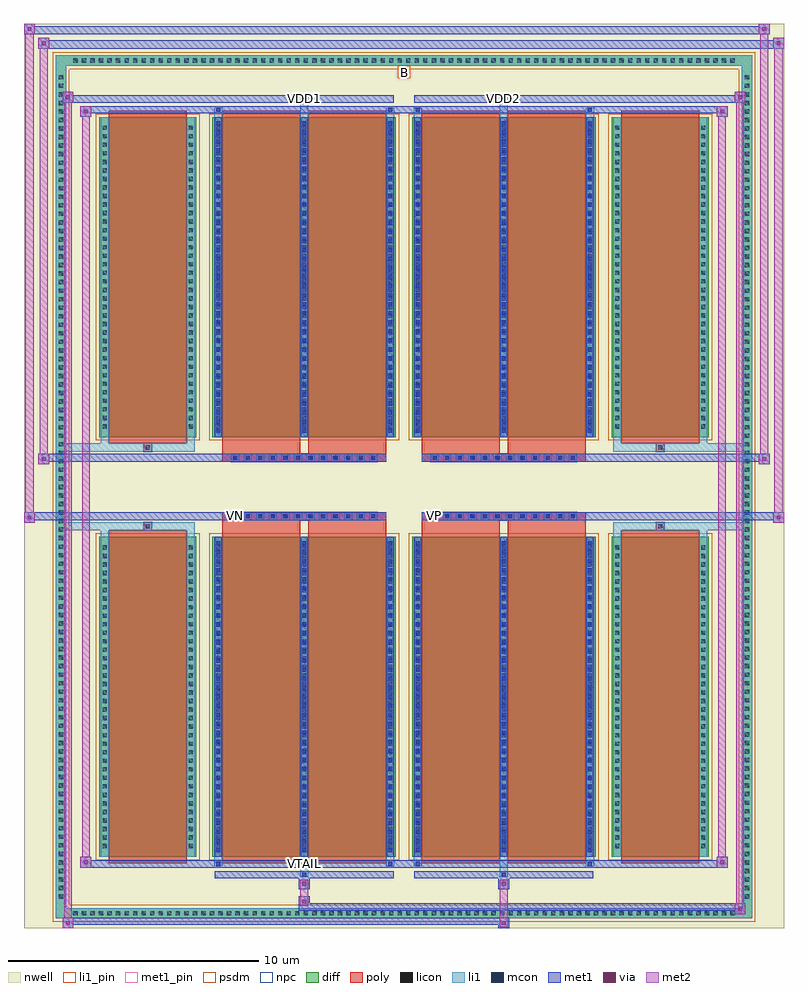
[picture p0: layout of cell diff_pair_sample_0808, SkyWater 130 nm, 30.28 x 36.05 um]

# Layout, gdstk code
import gdstk
lib = gdstk.Library(unit=1e-6, precision=5e-09)
def R(c, l, rs):  # rectangles x0, y0, x1, y1
    for r in rs: c.add(gdstk.rectangle(r[:2], r[2:], *l))
def A(c, l, x, y, w, h, nx, ny, dx, dy):  # array of equal rectangles
    R(c, l, [(x+i*dx, y+j*dy, x+i*dx+w, y+j*dy+h) for i in range(nx) for j in range(ny)])
def P(c, l, *ps):  # polygons
    for p in ps: c.add(gdstk.Polygon(p, *l))
nwell = (64, 20)
diff = (65, 20)
poly = (66, 20)
licon = (66, 44)
li1_pin = (67, 16)
li1 = (67, 20)
mcon = (67, 44)
met1_pin = (68, 16)
met1 = (68, 20)
via = (68, 44)
met2 = (69, 20)
psdm = (94, 20)
npc = (95, 20)

diff_pair_sample_0808 = lib.new_cell('diff_pair_sample_0808')
R(diff_pair_sample_0808, nwell, [(-15.14,-17.59,15.14,18.46), (-12.46,-15.78,-0.01,-0.8), (0.01,-15.78,12.46,-0.8), (-12.46,0.8,-0.01,15.78), (0.01,0.8,12.46,15.78)])
A(diff_pair_sample_0808, diff, -13.295, -17.19, 0.41, 0.41, 78, 2, 0.34, 33.97)
A(diff_pair_sample_0808, diff, -13.87, -16.525, 0.41, 0.41, 1, 97, 0, 0.34)
A(diff_pair_sample_0808, diff, 13.46, -16.525, 0.41, 0.41, 1, 97, 0, 0.34)
R(diff_pair_sample_0808, diff, [(-13.295,-17.19,13.295,-16.78), (-13.87,-16.525,-13.46,16.525), (13.46,-16.525,13.87,16.525), (-12.15,-14.735,-8.27,-1.985), (-7.63,-14.735,-0.32,-1.985), (0.32,-14.735,7.63,-1.985), (8.27,-14.735,12.15,-1.985), (-12.15,1.985,-8.27,14.735), (-7.63,1.985,-0.32,14.735), (0.32,1.985,7.63,14.735), (8.27,1.985,12.15,14.735), (-13.295,16.78,13.295,17.19)])
P(diff_pair_sample_0808, diff, [(13.87,17.19),(-13.87,17.19),(-13.87,-16.78),(-13.46,-16.78),(-13.46,16.78),(13.46,16.78),(13.46,-16.78),(-13.46,-16.78),(-13.87,-16.78),(-13.87,-17.19),(13.87,-17.19)])
A(diff_pair_sample_0808, poly, -6.89, -1.33, 0.33, 0.33, 12, 2, 0.5, 2.33)
A(diff_pair_sample_0808, poly, 1.06, -1.33, 0.33, 0.33, 12, 2, 0.5, 2.33)
R(diff_pair_sample_0808, poly, [(-11.76,-14.985,-8.66,-1.735), (-7.24,-14.985,-4.14,-1.735), (-3.81,-14.985,-0.71,-1.735), (0.71,-14.985,3.81,-1.735), (4.14,-14.985,7.24,-1.735), (8.66,-14.985,11.76,-1.735), (-10.375,-1.735,-10.045,-1.405), (-10.375,-1.735,-10.045,-1.405), (-7.24,-1.735,-4.14,-1.33), (-3.81,-1.735,-0.71,-1.33), (0.71,-1.735,3.81,-1.33), (4.14,-1.735,7.24,-1.33), (10.045,-1.735,10.375,-1.405), (10.045,-1.735,10.375,-1.405), (-7.24,-1.33,-0.71,-1), (0.71,-1.33,7.24,-1), (-7.24,1,-0.71,1.33), (0.71,1,7.24,1.33), (-7.24,1.33,-4.14,1.735), (-3.81,1.33,-0.71,1.735), (0.71,1.33,3.81,1.735), (4.14,1.33,7.24,1.735), (-10.375,1.405,-10.045,1.735), (-10.375,1.405,-10.045,1.735), (10.045,1.405,10.375,1.735), (10.045,1.405,10.375,1.735), (-11.76,1.735,-8.66,14.985), (-7.24,1.735,-4.14,14.985), (-3.81,1.735,-0.71,14.985), (0.71,1.735,3.81,14.985), (4.14,1.735,7.24,14.985), (8.66,1.735,11.76,14.985)])
A(diff_pair_sample_0808, licon, -13.175, -17.07, 0.17, 0.17, 78, 2, 0.34, 33.97)
A(diff_pair_sample_0808, licon, -13.75, -16.405, 0.17, 0.17, 1, 97, 0, 0.34)
A(diff_pair_sample_0808, licon, 13.58, -16.405, 0.17, 0.17, 1, 97, 0, 0.34)
A(diff_pair_sample_0808, licon, -12.01, -14.395, 0.17, 0.17, 1, 36, 0, 0.34)
A(diff_pair_sample_0808, licon, -8.58, -14.395, 0.17, 0.17, 1, 36, 0, 0.34)
A(diff_pair_sample_0808, licon, -7.49, -14.395, 0.17, 0.17, 3, 36, 3.43, 0.34)
A(diff_pair_sample_0808, licon, 0.46, -14.395, 0.17, 0.17, 3, 36, 3.43, 0.34)
A(diff_pair_sample_0808, licon, 8.41, -14.395, 0.17, 0.17, 1, 36, 0, 0.34)
A(diff_pair_sample_0808, licon, 11.84, -14.395, 0.17, 0.17, 1, 36, 0, 0.34)
A(diff_pair_sample_0808, licon, -6.81, -1.25, 0.17, 0.17, 12, 2, 0.5, 2.33)
A(diff_pair_sample_0808, licon, 1.14, -1.25, 0.17, 0.17, 12, 2, 0.5, 2.33)
A(diff_pair_sample_0808, licon, -12.01, 2.325, 0.17, 0.17, 1, 36, 0, 0.34)
A(diff_pair_sample_0808, licon, -8.58, 2.325, 0.17, 0.17, 1, 36, 0, 0.34)
A(diff_pair_sample_0808, licon, -7.49, 2.325, 0.17, 0.17, 3, 36, 3.43, 0.34)
A(diff_pair_sample_0808, licon, 0.46, 2.325, 0.17, 0.17, 3, 36, 3.43, 0.34)
A(diff_pair_sample_0808, licon, 8.41, 2.325, 0.17, 0.17, 1, 36, 0, 0.34)
A(diff_pair_sample_0808, licon, 11.84, 2.325, 0.17, 0.17, 1, 36, 0, 0.34)
R(diff_pair_sample_0808, licon, [(-10.295,-1.655,-10.125,-1.485), (10.125,-1.655,10.295,-1.485), (-10.295,1.485,-10.125,1.655), (10.125,1.485,10.295,1.655)])
R(diff_pair_sample_0808, li1_pin, [(-0.25,16.28,0.25,16.78)])
A(diff_pair_sample_0808, li1, -13.255, -17.15, 0.33, 0.33, 78, 2, 0.34, 33.97)
A(diff_pair_sample_0808, li1, -13.83, -16.485, 0.33, 0.33, 1, 97, 0, 0.34)
A(diff_pair_sample_0808, li1, 13.5, -16.485, 0.33, 0.33, 1, 97, 0, 0.34)
A(diff_pair_sample_0808, li1, -7.57, -14.735, 0.33, 12.75, 3, 2, 3.43, 16.72)
A(diff_pair_sample_0808, li1, 0.38, -14.735, 0.33, 12.75, 3, 2, 3.43, 16.72)
A(diff_pair_sample_0808, li1, -7.49, -14.565, 0.17, 0.17, 3, 35, 3.43, 0.36)
A(diff_pair_sample_0808, li1, -7.49, -14.565, 0.17, 12.41, 3, 2, 3.43, 16.72)
A(diff_pair_sample_0808, li1, 0.46, -14.565, 0.17, 0.17, 3, 35, 3.43, 0.36)
A(diff_pair_sample_0808, li1, 0.46, -14.565, 0.17, 12.41, 3, 2, 3.43, 16.72)
A(diff_pair_sample_0808, li1, -12.09, -14.475, 0.33, 0.33, 1, 36, 0, 0.34)
A(diff_pair_sample_0808, li1, -8.66, -14.475, 0.33, 0.33, 1, 36, 0, 0.34)
A(diff_pair_sample_0808, li1, -7.57, -14.475, 0.33, 0.33, 3, 36, 3.43, 0.34)
A(diff_pair_sample_0808, li1, 0.38, -14.475, 0.33, 0.33, 3, 36, 3.43, 0.34)
A(diff_pair_sample_0808, li1, 8.33, -14.475, 0.33, 0.33, 1, 36, 0, 0.34)
A(diff_pair_sample_0808, li1, 11.76, -14.475, 0.33, 0.33, 1, 36, 0, 0.34)
A(diff_pair_sample_0808, li1, -6.89, -1.33, 0.33, 0.33, 12, 2, 0.5, 2.33)
A(diff_pair_sample_0808, li1, 1.06, -1.33, 0.33, 0.33, 12, 2, 0.5, 2.33)
A(diff_pair_sample_0808, li1, -7.49, 2.155, 0.17, 0.17, 3, 35, 3.43, 0.36)
A(diff_pair_sample_0808, li1, 0.46, 2.155, 0.17, 0.17, 3, 35, 3.43, 0.36)
A(diff_pair_sample_0808, li1, -12.09, 2.245, 0.33, 0.33, 1, 36, 0, 0.34)
A(diff_pair_sample_0808, li1, -8.66, 2.245, 0.33, 0.33, 1, 36, 0, 0.34)
A(diff_pair_sample_0808, li1, -7.57, 2.245, 0.33, 0.33, 3, 36, 3.43, 0.34)
A(diff_pair_sample_0808, li1, 0.38, 2.245, 0.33, 0.33, 3, 36, 3.43, 0.34)
A(diff_pair_sample_0808, li1, 8.33, 2.245, 0.33, 0.33, 1, 36, 0, 0.34)
A(diff_pair_sample_0808, li1, 11.76, 2.245, 0.33, 0.33, 1, 36, 0, 0.34)
R(diff_pair_sample_0808, li1, [(-13.87,-17.19,-13.46,-16.78), (-13.87,-17.19,-13.46,-16.78), (-13.46,-17.19,13.46,-16.78), (13.46,-17.19,13.87,-16.78), (13.46,-17.19,13.87,-16.78), (-13.87,-16.78,-13.46,16.78), (13.46,-16.78,13.87,16.78), (-4.14,-15.54,-3.81,-14.735), (-4.06,-15.54,-3.89,-15.37), (3.81,-15.54,4.14,-14.735), (3.89,-15.54,4.06,-15.37), (-7.57,-15.11,-7.24,-14.735), (-7.49,-15.11,-7.32,-14.94), (-0.71,-15.11,-0.38,-14.735), (-0.63,-15.11,-0.46,-14.94), (0.38,-15.11,0.71,-14.735), (0.46,-15.11,0.63,-14.94), (7.24,-15.11,7.57,-14.735), (7.32,-15.11,7.49,-14.94), (-12.09,-14.735,-11.76,-1.985), (-8.66,-14.735,-8.33,-1.985), (8.33,-14.735,8.66,-1.985), (11.76,-14.735,12.09,-1.985), (-12.09,-1.985,-11.76,-1.405), (-8.66,-1.985,-8.33,-1.405), (8.33,-1.985,8.66,-1.405), (11.76,-1.985,12.09,-1.405), (-13.87,-1.735,-10.375,-1.405), (-12.09,-1.735,-10.375,-1.405), (-10.375,-1.735,-10.045,-1.405), (-10.045,-1.735,-8.33,-1.405), (8.33,-1.735,10.045,-1.405), (10.045,-1.735,10.375,-1.405), (10.045,-1.735,13.87,-1.405), (10.375,-1.735,12.09,-1.405), (-13.87,1.405,-10.375,1.735), (-12.09,1.405,-10.375,1.735), (-12.09,1.405,-11.76,1.985), (-10.375,1.405,-10.045,1.735), (-10.045,1.405,-8.33,1.735), (-8.66,1.405,-8.33,1.985), (8.33,1.405,10.045,1.735), (8.33,1.405,8.66,1.985), (10.045,1.405,10.375,1.735), (10.045,1.405,13.87,1.735), (10.375,1.405,12.09,1.735), (11.76,1.405,12.09,1.985), (-12.09,1.985,-11.76,14.735), (-8.66,1.985,-8.33,14.735), (8.33,1.985,8.66,14.735), (11.76,1.985,12.09,14.735), (-7.57,14.735,-7.24,15.11), (-4.14,14.735,-3.81,15.54), (-0.71,14.735,-0.38,15.11), (0.38,14.735,0.71,15.11), (3.81,14.735,4.14,15.54), (7.24,14.735,7.57,15.11), (-7.49,14.94,-7.32,15.11), (-0.63,14.94,-0.46,15.11), (0.46,14.94,0.63,15.11), (7.32,14.94,7.49,15.11), (-4.06,15.37,-3.89,15.54), (3.89,15.37,4.06,15.54), (-13.87,16.78,-13.46,17.19), (-13.87,16.78,-13.46,17.19), (-13.46,16.78,13.46,17.19), (13.46,16.78,13.87,17.19), (13.46,16.78,13.87,17.19)])
A(diff_pair_sample_0808, mcon, -7.49, -14.565, 0.17, 0.17, 3, 35, 3.43, 0.36)
A(diff_pair_sample_0808, mcon, 0.46, -14.565, 0.17, 0.17, 3, 35, 3.43, 0.36)
A(diff_pair_sample_0808, mcon, -6.81, -1.25, 0.17, 0.17, 12, 2, 0.5, 2.33)
A(diff_pair_sample_0808, mcon, 1.14, -1.25, 0.17, 0.17, 12, 2, 0.5, 2.33)
A(diff_pair_sample_0808, mcon, -7.49, 2.155, 0.17, 0.17, 3, 35, 3.43, 0.36)
A(diff_pair_sample_0808, mcon, 0.46, 2.155, 0.17, 0.17, 3, 35, 3.43, 0.36)
R(diff_pair_sample_0808, mcon, [(-4.06,-15.54,-3.89,-15.37), (3.89,-15.54,4.06,-15.37), (-7.49,-15.11,-7.32,-14.94), (-0.63,-15.11,-0.46,-14.94), (0.46,-15.11,0.63,-14.94), (7.32,-15.11,7.49,-14.94), (-7.49,14.94,-7.32,15.11), (-0.63,14.94,-0.46,15.11), (0.46,14.94,0.63,15.11), (7.32,14.94,7.49,15.11), (-4.06,15.37,-3.89,15.54), (3.89,15.37,4.06,15.54)])
R(diff_pair_sample_0808, met1_pin, [(-4.11,-15.15,-3.84,-14.88), (-6.86,-1.29,-6.59,-1.02), (1.09,-1.29,1.36,-1.02), (-4.11,15.33,-3.84,15.6), (3.84,15.33,4.11,15.6)])
A(diff_pair_sample_0808, met1, -7.55, -14.735, 0.29, 12.75, 3, 2, 3.43, 16.72)
A(diff_pair_sample_0808, met1, 0.4, -14.735, 0.29, 12.75, 3, 2, 3.43, 16.72)
A(diff_pair_sample_0808, met1, -7.55, -14.625, 0.29, 0.29, 3, 35, 3.43, 0.36)
A(diff_pair_sample_0808, met1, 0.4, -14.625, 0.29, 0.29, 3, 35, 3.43, 0.36)
A(diff_pair_sample_0808, met1, -6.87, -1.31, 0.29, 0.29, 12, 2, 0.5, 2.33)
A(diff_pair_sample_0808, met1, 1.08, -1.31, 0.29, 0.29, 12, 2, 0.5, 2.33)
A(diff_pair_sample_0808, met1, -7.55, 2.095, 0.29, 0.29, 3, 35, 3.43, 0.36)
A(diff_pair_sample_0808, met1, 0.4, 2.095, 0.29, 0.29, 3, 35, 3.43, 0.36)
R(diff_pair_sample_0808, met1, [(-13.6,-17.59,-13.17,-17.16), (3.76,-17.59,4.19,-17.16), (-13.6,-17.45,4.19,-17.16), (13.17,-17.02,13.6,-16.59), (-4.19,-16.88,13.6,-16.59), (-4.19,-16.74,-3.76,-16.31), (-4.19,-16.03,-3.76,-15.6), (3.76,-16.03,4.19,-15.6), (-7.55,-15.6,-0.4,-15.31), (-4.12,-15.6,-3.83,-15.31), (0.4,-15.6,7.55,-15.31), (3.83,-15.6,4.12,-15.31), (-12.89,-15.17,-12.46,-14.74), (-12.89,-15.17,-7.55,-14.88), (-7.55,-15.17,-7.26,-14.88), (-7.55,-15.17,-0.4,-14.88), (-0.69,-15.17,-0.4,-14.88), (-0.4,-15.17,0.4,-14.88), (0.4,-15.17,0.69,-14.88), (0.4,-15.17,7.55,-14.88), (7.26,-15.17,7.55,-14.88), (7.55,-15.17,12.89,-14.88), (12.46,-15.17,12.89,-14.74), (-15.14,-1.43,-14.71,-1), (14.71,-1.43,15.14,-1), (-15.14,-1.33,-0.71,-1), (-7.24,-1.33,-0.71,-1), (0.71,-1.33,7.24,-1), (0.71,-1.33,15.14,-1), (-14.57,0.9,-14.14,1.33), (14.14,0.9,14.57,1.33), (-14.57,1,-7.24,1.33), (-7.24,1,-0.71,1.33), (0.71,1,7.24,1.33), (7.24,1,14.57,1.33), (-12.89,14.74,-12.46,15.17), (12.46,14.74,12.89,15.17), (-12.89,14.88,-7.55,15.17), (-7.55,14.88,-7.26,15.17), (-7.55,14.88,-0.4,15.17), (-0.69,14.88,-0.4,15.17), (-0.4,14.88,0.4,15.17), (0.4,14.88,0.69,15.17), (0.4,14.88,7.55,15.17), (7.26,14.88,7.55,15.17), (7.55,14.88,12.89,15.17), (-13.6,15.31,-13.17,15.74), (-13.6,15.31,-7.55,15.6), (-7.55,15.31,-0.4,15.6), (-4.12,15.31,-3.83,15.6), (0.4,15.31,7.55,15.6), (3.83,15.31,4.12,15.6), (7.55,15.31,13.6,15.6), (13.17,15.31,13.6,15.74), (-14.57,17.46,-14.14,17.89), (-14.57,17.46,-12.46,17.79), (-12.46,17.46,12.46,17.79), (12.46,17.46,15.14,17.79), (14.71,17.46,15.14,17.89), (-15.14,18.03,-14.71,18.46), (-15.14,18.03,-12.46,18.36), (-12.46,18.03,12.46,18.36), (12.46,18.03,14.57,18.36), (14.14,18.03,14.57,18.46)])
R(diff_pair_sample_0808, via, [(-13.46,-17.45,-13.31,-17.3), (3.9,-17.45,4.05,-17.3), (13.31,-16.88,13.46,-16.73), (-4.05,-16.6,-3.9,-16.45), (-4.05,-15.89,-3.9,-15.74), (3.9,-15.89,4.05,-15.74), (-12.75,-15.03,-12.6,-14.88), (12.6,-15.03,12.75,-14.88), (-15,-1.29,-14.85,-1.14), (14.85,-1.29,15,-1.14), (-14.43,1.04,-14.28,1.19), (14.28,1.04,14.43,1.19), (-12.75,14.88,-12.6,15.03), (12.6,14.88,12.75,15.03), (-13.46,15.45,-13.31,15.6), (13.31,15.45,13.46,15.6), (-14.43,17.6,-14.28,17.75), (14.85,17.6,15,17.75), (-15,18.17,-14.85,18.32), (14.28,18.17,14.43,18.32)])
R(diff_pair_sample_0808, met2, [(-13.6,-17.59,-13.17,-17.16), (-13.53,-17.59,-13.24,15.74), (-13.24,-17.59,-13.17,-17.16), (-13.55,-17.54,-13.22,-17.21), (3.81,-17.54,4.14,-17.21), (3.81,-17.21,4.14,-15.98), (13.17,-17.02,13.6,-16.59), (13.24,-17.02,13.53,15.74), (13.53,-17.02,13.6,-16.59), (13.22,-16.97,13.55,-16.64), (-4.14,-16.69,-3.81,-16.36), (-4.14,-16.36,-3.81,-15.98), (-4.14,-15.98,-3.81,-15.65), (3.81,-15.98,4.14,-15.65), (-12.89,-15.17,-12.46,-14.74), (-12.82,-15.17,-12.53,15.17), (-12.53,-15.17,-12.46,-14.74), (12.46,-15.17,12.89,-14.74), (12.53,-15.17,12.82,15.17), (12.82,-15.17,12.89,-14.74), (-12.84,-15.12,-12.51,-14.79), (12.51,-15.12,12.84,-14.79), (-15.14,-1.43,-14.71,-1), (-15.09,-1.43,-14.76,18.46), (-14.76,-1.43,-14.71,-1), (14.71,-1.43,15.14,-1), (14.76,-1.43,15.09,17.89), (15.09,-1.43,15.14,-1), (-15.09,-1.38,-14.76,-1.05), (14.76,-1.38,15.09,-1.05), (-14.57,0.9,-14.14,1.33), (-14.52,0.9,-14.19,17.89), (-14.19,0.9,-14.14,1.33), (14.14,0.9,14.57,1.33), (14.19,0.9,14.52,18.46), (14.52,0.9,14.57,1.33), (-14.52,0.95,-14.19,1.28), (14.19,0.95,14.52,1.28), (-12.89,14.74,-12.46,15.17), (-12.53,14.74,-12.46,15.17), (12.46,14.74,12.89,15.17), (12.82,14.74,12.89,15.17), (-12.84,14.79,-12.51,15.12), (12.51,14.79,12.84,15.12), (-13.6,15.31,-13.17,15.74), (-13.24,15.31,-13.17,15.74), (13.17,15.31,13.6,15.74), (13.53,15.31,13.6,15.74), (-13.55,15.36,-13.22,15.69), (13.22,15.36,13.55,15.69), (-14.57,17.46,-14.14,17.89), (-14.19,17.46,-14.14,17.89), (14.71,17.46,15.14,17.89), (15.09,17.46,15.14,17.89), (-14.52,17.51,-14.19,17.84), (14.76,17.51,15.09,17.84), (-15.14,18.03,-14.71,18.46), (-14.76,18.03,-14.71,18.46), (14.14,18.03,14.57,18.46), (14.52,18.03,14.57,18.46), (-15.09,18.08,-14.76,18.41), (14.19,18.08,14.52,18.41)])
R(diff_pair_sample_0808, psdm, [(-12.28,-14.865,-8.14,-1.855), (-7.76,-14.865,-0.19,-1.855), (0.19,-14.865,7.76,-1.855), (8.14,-14.865,12.28,-1.855), (-12.28,1.855,-8.14,14.865), (-7.76,1.855,-0.19,14.865), (0.19,1.855,7.76,14.865), (8.14,1.855,12.28,14.865)])
P(diff_pair_sample_0808, psdm, [(14,17.32),(-14,17.32),(-14,-16.65),(-13.33,-16.65),(-13.33,16.65),(13.33,16.65),(13.33,-16.65),(-13.33,-16.65),(-14,-16.65),(-14,-17.32),(14,-17.32)])
A(diff_pair_sample_0808, npc, -6.91, -1.35, 0.37, 0.37, 12, 2, 0.5, 2.33)
A(diff_pair_sample_0808, npc, 1.04, -1.35, 0.37, 0.37, 12, 2, 0.5, 2.33)
R(diff_pair_sample_0808, npc, [(-10.395,-1.755,-10.025,-1.385), (10.025,-1.755,10.395,-1.385), (-6.91,-1.35,-6.04,-0.98), (-6.91,-1.35,-6.04,-0.98), (-6.41,-1.35,-5.54,-0.98), (-6.41,-1.35,-5.54,-0.98), (-5.91,-1.35,-5.04,-0.98), (-5.91,-1.35,-5.04,-0.98), (-5.41,-1.35,-4.54,-0.98), (-5.41,-1.35,-4.54,-0.98), (-4.91,-1.35,-4.04,-0.98), (-4.91,-1.35,-4.04,-0.98), (-4.41,-1.35,-3.54,-0.98), (-4.41,-1.35,-3.54,-0.98), (-3.91,-1.35,-3.04,-0.98), (-3.91,-1.35,-3.04,-0.98), (-3.41,-1.35,-2.54,-0.98), (-3.41,-1.35,-2.54,-0.98), (-2.91,-1.35,-2.04,-0.98), (-2.91,-1.35,-2.04,-0.98), (-2.41,-1.35,-1.54,-0.98), (-2.41,-1.35,-1.54,-0.98), (-1.91,-1.35,-1.04,-0.98), (-1.91,-1.35,-1.04,-0.98), (1.04,-1.35,1.91,-0.98), (1.04,-1.35,1.91,-0.98), (1.54,-1.35,2.41,-0.98), (1.54,-1.35,2.41,-0.98), (2.04,-1.35,2.91,-0.98), (2.04,-1.35,2.91,-0.98), (2.54,-1.35,3.41,-0.98), (2.54,-1.35,3.41,-0.98), (3.04,-1.35,3.91,-0.98), (3.04,-1.35,3.91,-0.98), (3.54,-1.35,4.41,-0.98), (3.54,-1.35,4.41,-0.98), (4.04,-1.35,4.91,-0.98), (4.04,-1.35,4.91,-0.98), (4.54,-1.35,5.41,-0.98), (4.54,-1.35,5.41,-0.98), (5.04,-1.35,5.91,-0.98), (5.04,-1.35,5.91,-0.98), (5.54,-1.35,6.41,-0.98), (5.54,-1.35,6.41,-0.98), (6.04,-1.35,6.91,-0.98), (6.04,-1.35,6.91,-0.98), (-6.91,0.98,-6.04,1.35), (-6.91,0.98,-6.04,1.35), (-6.41,0.98,-5.54,1.35), (-6.41,0.98,-5.54,1.35), (-5.91,0.98,-5.04,1.35), (-5.91,0.98,-5.04,1.35), (-5.41,0.98,-4.54,1.35), (-5.41,0.98,-4.54,1.35), (-4.91,0.98,-4.04,1.35), (-4.91,0.98,-4.04,1.35), (-4.41,0.98,-3.54,1.35), (-4.41,0.98,-3.54,1.35), (-3.91,0.98,-3.04,1.35), (-3.91,0.98,-3.04,1.35), (-3.41,0.98,-2.54,1.35), (-3.41,0.98,-2.54,1.35), (-2.91,0.98,-2.04,1.35), (-2.91,0.98,-2.04,1.35), (-2.41,0.98,-1.54,1.35), (-2.41,0.98,-1.54,1.35), (-1.91,0.98,-1.04,1.35), (-1.91,0.98,-1.04,1.35), (1.04,0.98,1.91,1.35), (1.04,0.98,1.91,1.35), (1.54,0.98,2.41,1.35), (1.54,0.98,2.41,1.35), (2.04,0.98,2.91,1.35), (2.04,0.98,2.91,1.35), (2.54,0.98,3.41,1.35), (2.54,0.98,3.41,1.35), (3.04,0.98,3.91,1.35), (3.04,0.98,3.91,1.35), (3.54,0.98,4.41,1.35), (3.54,0.98,4.41,1.35), (4.04,0.98,4.91,1.35), (4.04,0.98,4.91,1.35), (4.54,0.98,5.41,1.35), (4.54,0.98,5.41,1.35), (5.04,0.98,5.91,1.35), (5.04,0.98,5.91,1.35), (5.54,0.98,6.41,1.35), (5.54,0.98,6.41,1.35), (6.04,0.98,6.91,1.35), (6.04,0.98,6.91,1.35), (-10.395,1.385,-10.025,1.755), (10.025,1.385,10.395,1.755)])
diff_pair_sample_0808.add(gdstk.Label('VTAIL', (-3.975,-15.015), layer=68, texttype=5))
diff_pair_sample_0808.add(gdstk.Label('VN', (-6.725,-1.155), layer=68, texttype=5))
diff_pair_sample_0808.add(gdstk.Label('VP', (1.225,-1.155), layer=68, texttype=5))
diff_pair_sample_0808.add(gdstk.Label('B', (0,16.53), layer=67, texttype=5))
diff_pair_sample_0808.add(gdstk.Label('VDD2', (3.975,15.465), layer=68, texttype=5))
diff_pair_sample_0808.add(gdstk.Label('VDD1', (-3.975,15.465), layer=68, texttype=5))

lib.write_gds('diff_pair_sample_0808.gds')
